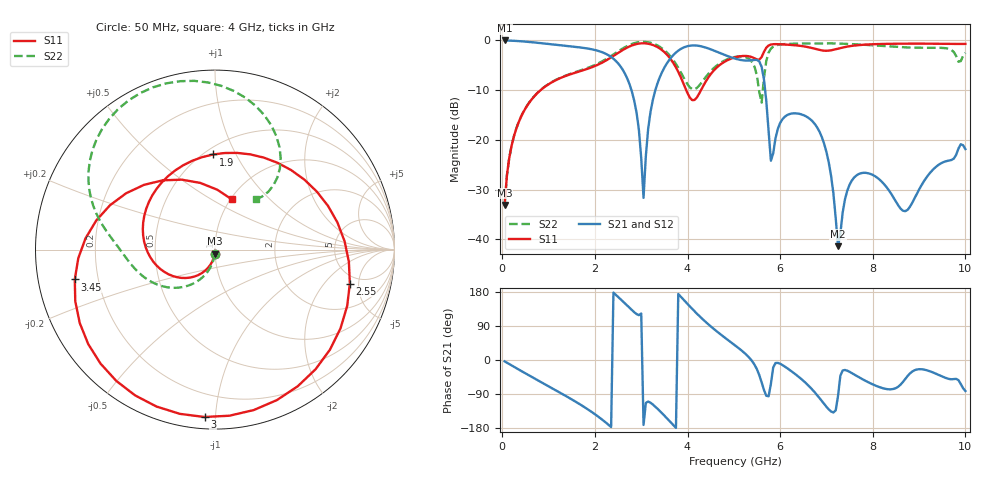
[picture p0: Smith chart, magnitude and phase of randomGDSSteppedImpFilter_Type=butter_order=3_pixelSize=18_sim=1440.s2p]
! freq	dB(S11)	phase(S11)	dB(S12)	phase(S12)
!  dB(S21)	phase(S21)	dB(S22)	phase(S22)
!S-par simulation data
#  GHz  S  DB  R 50
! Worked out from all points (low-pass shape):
!   200 points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, 50 MHz to 10 GHz, reference 50 ohm
!   highest |S21| = -0.01 dB at 50 MHz (marker M1); lowest = -41.3 dB at 7.25 GHz (marker M2)
!   |S21| within 3 dB of the highest: start of sweep to 2.298 GHz; 3.687 GHz to 4.827 GHz (1.14 GHz wide, 26.8 % of centre)
!   lowest |S11| = -33.1 dB at 50 MHz (marker M3), VSWR 1.05, Z = 49.8 - j2.2 ohm
!   |S11| at or under -10 dB: start of sweep to 826.9 MHz; 3.972 GHz to 4.29 GHz (318.5 MHz wide, 7.71 % of centre)
!   |S22| runs from -33.1 to -0.3 dB; largest |S21 - S12| = 0
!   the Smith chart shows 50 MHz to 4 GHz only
!   S11 on the Smith chart (normalised r, x): 50 MHz: 1.00, -0.04; 1.9 GHz: 0.55, +0.81; 2.55 GHz: 4.10, -3.88; 3 GHz: 0.06, -0.94; 3.45 GHz: 0.11, -0.10; 4 GHz: 1.02, +0.62
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0.05  -33.08 -94.1  -0.01 -3.6  -0.01 -3.6  -33.06 -93.0
0.5  -13.66 -131.4  -0.24 -35.3  -0.24 -35.3  -13.64 -120.1
1.75  -5.99 110.7  -1.50 -122.6  -1.50 -122.6  -5.84 -177.1
1.9  -5.51 91.2  -1.72 -134.6  -1.72 -134.6  -5.33 178.2
2.55  -2.22 -14.1  -5.19 160.8  -5.19 160.8  -1.91 151.4
3  -0.59 -93.6  -23.64 122.5  -23.64 122.5  -0.30 115.4
3.05  -0.58 -102.0  -31.64 -171.4  -31.64 -171.4  -0.28 110.9
3.4  -1.62 -159.7  -7.42 -134.5  -7.42 -134.5  -1.28 78.6
3.45  -1.95 -168.0  -6.36 -140.6  -6.36 -140.6  -1.60 74.2
4  -10.61 71.3  -1.15 147.8  -1.15 147.8  -8.82 50.8
5.05  -3.34 -140.2  -3.72 36.5  -3.72 36.5  -3.29 32.3
5.5  -3.83 -168.9  -3.92 -24.9  -3.92 -24.9  -7.15 -49.1
5.65  -2.31 -166.7  -7.78 -78.9  -7.78 -78.9  -7.56 128.0
5.8  -0.83 174.9  -24.18 -63.4  -24.18 -63.4  -1.66 53.7
6  -0.77 154.0  -16.59 -9.9  -16.59 -9.9  -0.82 17.4
6.7  -1.56 59.2  -16.27 -78.8  -16.27 -78.8  -0.62 -42.3
6.95  -2.06 -9.4  -20.77 -116.0  -20.77 -116.0  -0.59 -60.0
7.25  -1.66 -95.9  -41.35 -94.3  -41.35 -94.3  -0.63 -81.9
7.65  -0.98 -161.1  -27.11 -41.9  -27.11 -41.9  -0.79 -112.5
8.35  -0.68 144.3  -30.16 -77.4  -30.16 -77.4  -1.20 -177.4
9.1  -0.65 105.1  -28.37 -25.2  -28.37 -25.2  -1.48 87.3
10  -0.70 62.0  -21.83 -81.8  -21.83 -81.8  -2.50 -21.8
